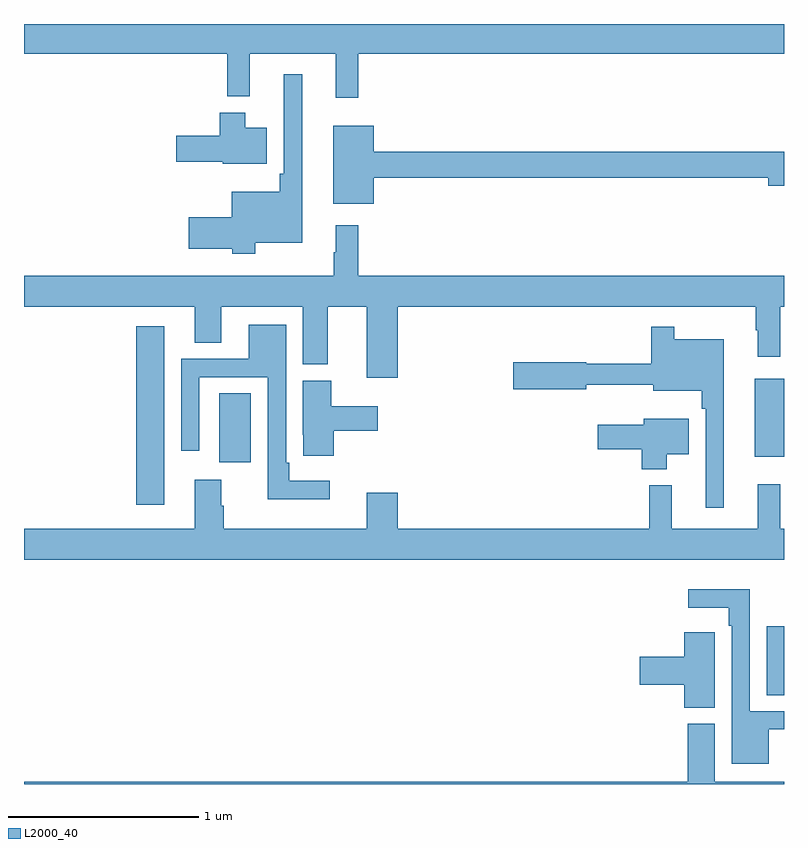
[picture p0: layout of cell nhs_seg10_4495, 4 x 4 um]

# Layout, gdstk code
import gdstk
lib = gdstk.Library(unit=1e-6, precision=1e-09)
def R(c, l, rs):  # rectangles x0, y0, x1, y1
    for r in rs: c.add(gdstk.rectangle(r[:2], r[2:], *l))
def P(c, l, *ps):  # polygons
    for p in ps: c.add(gdstk.Polygon(p, *l))
L2000_40 = (2000, 40)

nhs_seg10_4495 = lib.new_cell('nhs_seg10_4495')
R(nhs_seg10_4495, L2000_40, [(370.91,1268.968,371,1269.331), (367.592,1269.969,367.738,1270.909), (368.027,1270.194,368.194,1270.556), (370.847,1270.223,371,1270.633)])
P(nhs_seg10_4495, L2000_40, [(371,1272.5),(367,1272.5),(367,1272.344),(368.071,1272.344),(368.071,1272.119),(368.189,1272.119),(368.189,1272.344),(368.642,1272.344),(368.642,1272.111),(368.759,1272.111),(368.759,1272.344),(371,1272.344)],
  [(368.218,1271.348),(368.464,1271.348),(368.464,1272.235),(368.367,1272.235),(368.367,1271.713),(368.347,1271.713),(368.347,1271.617),(368.093,1271.617),(368.093,1271.484),(367.866,1271.484),(367.866,1271.318),(368.097,1271.318),(368.097,1271.291),(368.218,1271.291)],
  [(368.278,1271.953),(368.164,1271.953),(368.164,1272.034),(368.03,1272.034),(368.03,1271.913),(367.8,1271.913),(367.8,1271.776),(368.046,1271.776),(368.046,1271.765),(368.278,1271.765)],
  [(368.842,1271.692),(370.916,1271.692),(370.916,1271.65),(371,1271.65),(371,1271.828),(368.842,1271.828),(368.842,1271.965),(368.627,1271.965),(368.627,1271.555),(368.842,1271.555)],
  [(368.968,1271.012),(370.851,1271.012),(370.851,1270.889),(370.862,1270.889),(370.862,1270.749),(370.979,1270.749),(370.979,1271.012),(371,1271.012),(371,1271.176),(368.759,1271.176),(368.759,1271.44),(368.642,1271.44),(368.642,1271.3),(368.631,1271.3),(368.631,1271.176),(367,1271.176),(367,1271.012),(367.898,1271.012),(367.898,1270.822),(368.038,1270.822),(368.038,1271.012),(368.468,1271.012),(368.468,1270.708),(368.599,1270.708),(368.599,1271.012),(368.804,1271.012),(368.804,1270.638),(368.968,1270.638)],
  [(368.608,1270.096),(368.395,1270.096),(368.395,1270.192),(368.379,1270.192),(368.379,1270.918),(368.183,1270.918),(368.183,1270.737),(367.827,1270.737),(367.827,1270.254),(367.923,1270.254),(367.923,1270.641),(368.283,1270.641),(368.283,1269.998),(368.608,1269.998)],
  [(370.684,1270.84),(370.423,1270.84),(370.423,1270.906),(370.302,1270.906),(370.302,1270.711),(369.96,1270.711),(369.96,1270.719),(369.576,1270.719),(369.576,1270.577),(369.96,1270.577),(369.96,1270.601),(370.313,1270.601),(370.313,1270.571),(370.567,1270.571),(370.567,1270.475),(370.587,1270.475),(370.587,1269.954),(370.684,1269.954)],
  [(368.63,1270.36),(368.863,1270.36),(368.863,1270.489),(368.617,1270.489),(368.617,1270.623),(368.468,1270.623),(368.468,1270.339),(368.469,1270.339),(368.469,1270.227),(368.63,1270.227)],
  [(370.384,1270.235),(370.498,1270.235),(370.498,1270.423),(370.262,1270.423),(370.262,1270.39),(370.02,1270.39),(370.02,1270.261),(370.25,1270.261),(370.25,1270.157),(370.384,1270.157)],
  [(371,1269.844),(370.979,1269.844),(370.979,1270.078),(370.862,1270.078),(370.862,1269.844),(370.409,1269.844),(370.409,1270.072),(370.291,1270.072),(370.291,1269.844),(368.968,1269.844),(368.968,1270.033),(368.804,1270.033),(368.804,1269.844),(368.051,1269.844),(368.051,1269.965),(368.038,1269.965),(368.038,1270.102),(367.898,1270.102),(367.898,1269.844),(367,1269.844),(367,1269.68),(371,1269.68)],
  [(370.921,1268.787),(371,1268.787),(371,1268.883),(370.821,1268.883),(370.821,1269.526),(370.497,1269.526),(370.497,1269.428),(370.709,1269.428),(370.709,1269.332),(370.725,1269.332),(370.725,1268.606),(370.921,1268.606)],
  [(370.636,1269.185),(370.635,1269.185),(370.635,1269.298),(370.475,1269.298),(370.475,1269.17),(370.242,1269.17),(370.242,1269.023),(370.475,1269.023),(370.475,1268.902),(370.636,1268.902)],
  [(371,1268.512),(370.636,1268.512),(370.636,1268.817),(370.493,1268.817),(370.493,1268.512),(367,1268.512),(367,1268.5),(371,1268.5)])

lib.write_gds('nhs_seg10_4495.gds')
